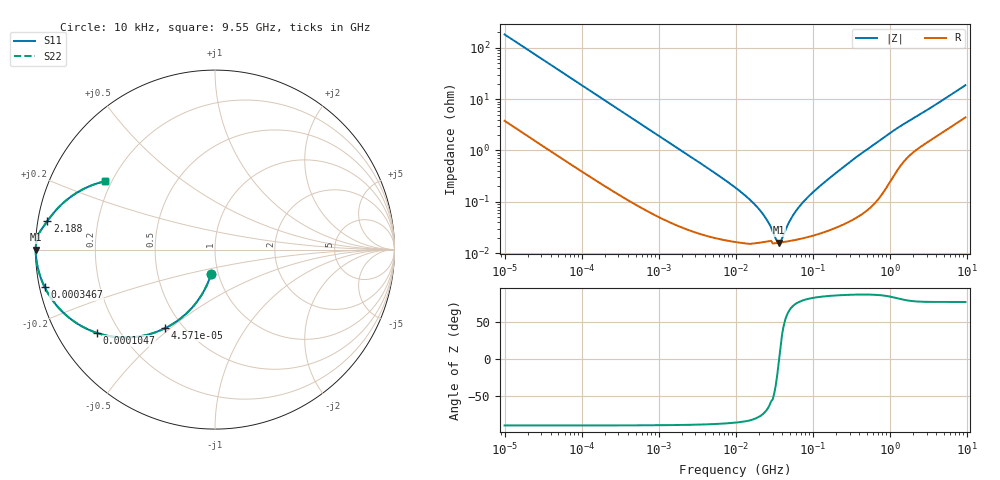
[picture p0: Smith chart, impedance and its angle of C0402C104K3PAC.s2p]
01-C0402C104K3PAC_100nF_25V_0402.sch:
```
<Qucs Schematic 0.0.19>
<Properties>
  <View=123,-9,1083,735,0.909375,0,0>
  <Grid=10,10,1>
  <DataSet=01-C0402C104K3PAC_100nF_25V_0402.dat>
  <DataDisplay=01-C0402C104K3PAC_100nF_25V_0402.dpl>
  <OpenDisplay=1>
  <Script=01-C0402C104K3PAC_100nF_25V_0402.m>
  <RunScript=0>
  <showFrame=0>
  <FrameText0=Title>
  <FrameText1=Drawn By:>
  <FrameText2=Date:>
  <FrameText3=Revision:>
</Properties>
<Symbol>
</Symbol>
<Components>
  <GND * 1 550 190 0 0 0 0>
  <Pac P2 1 640 200 18 -26 0 1 "2" 1 "50 Ohm" 1 "0 dBm" 0 "1 GHz" 0 "26.85" 0>
  <GND * 1 640 250 0 0 0 0>
  <Pac P1 1 430 190 18 -26 0 1 "1" 1 "50 Ohm" 1 "0 dBm" 0 "1 GHz" 0 "26.85" 0>
  <GND * 1 430 240 0 0 0 0>
  <.SP SP1 1 200 100 0 79 0 0 "log" 1 "10 kHz" 1 "9.549916E+09" 1 "500" 1 "no" 0 "1" 0 "2" 0 "no" 0 "no" 0>
  <SPfile X1 1 550 140 -26 -46 0 0 "C:/Users/hop/Documents/GitHub/QUCS/01-lib/C0402C104K3PAC.s2p" 0 "rectangular" 0 "linear" 0 "open" 0 "2" 0>
  <Eqn Eqn1 1 820 140 -37 18 0 0 "Z_meas=25*S[2,1]/(1-S[2,1])" 1 "yes" 0>
</Components>
<Wires>
  <550 170 550 190 "" 0 0 0 "">
  <640 230 640 250 "" 0 0 0 "">
  <430 140 520 140 "" 0 0 0 "">
  <430 220 430 240 "" 0 0 0 "">
  <430 140 430 160 "" 0 0 0 "">
  <640 140 640 170 "" 0 0 0 "">
  <580 140 640 140 "" 0 0 0 "">
</Wires>
<Diagrams>
  <Rect 200 629 782 309 3 #c0c0c0 1 13 1 0 2e+09 1e+10 1 0.01 1 300 1 0 1 0 315 0 225 "" "" "">
	<"Z_meas" #0000ff 0 3 0 0 0>
  </Rect>
</Diagrams>
<Paintings>
  <Text 410 30 18 #000000 0 "C0402C104K3PAC">
  <Rectangle 390 10 470 70 #000000 5 1 #c0c0c0 1 0>
  <Text 690 40 12 #000000 0 "100nF/25V/0402\n">
</Paintings>
```
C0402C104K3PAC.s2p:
! C0402C104K3PAC
! Temp = 25°C, Bias = 0VDC, Shunt
! KEMET S2P Model
# HZ S DB R 50
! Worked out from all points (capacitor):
!   300 points, 10 kHz to 9.55 GHz, reference 50 ohm
!   read as one part in shunt: C = 87 nF near 10.47 kHz
!   lowest |Z| = 15.9 mohm at 36.31 MHz (marker M1)
!   series resonance near 36.51 MHz, so ESL is about 220 pH
!   S11 on the Smith chart (normalised r, x): 10 kHz: 0.93, -0.25; 45.71 kHz: 0.40, -0.48; 104.7 kHz: 0.12, -0.31; 346.7 kHz: 0.01, -0.11; 2.188 GHz: 0.03, +0.08; 9.55 GHz: 0.17, +0.28
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10000  -17.36 -99.0  -0.11 -7.8  -0.11 -7.8  -17.36 -99.0
45708.8  -5.71 -122.4  -1.47 -31.2  -1.47 -31.2  -5.71 -122.4
104712.9  -1.89 -144.7  -4.76 -53.5  -4.76 -53.5  -1.89 -144.7
346736.8  -0.25 -167.6  -13.37 -76.3  -13.37 -76.3  -0.25 -167.6
1e7  -0.01 -179.6  -42.55 -84.5  -42.55 -84.5  -0.01 -179.6
2.187762e7  -0.01 -179.9  -52.25 -74.5  -52.25 -74.5  -0.01 -179.9
3.63078e7  -0.01 -180.0  -63.91 -2.1  -63.91 -2.1  -0.01 -180.0
5.754402e7  -0.01 179.9  -52.45 72.4  -52.45 72.4  -0.01 179.9
1.04713e8  -0.01 179.6  -43.74 81.8  -43.74 81.8  -0.01 179.6
2.187762e9  -0.47 170.3  -15.26 67.4  -15.26 67.4  -0.47 170.3
9.549916e9  -2.82 148.3  -5.33 44.6  -5.33 44.6  -2.82 148.3
